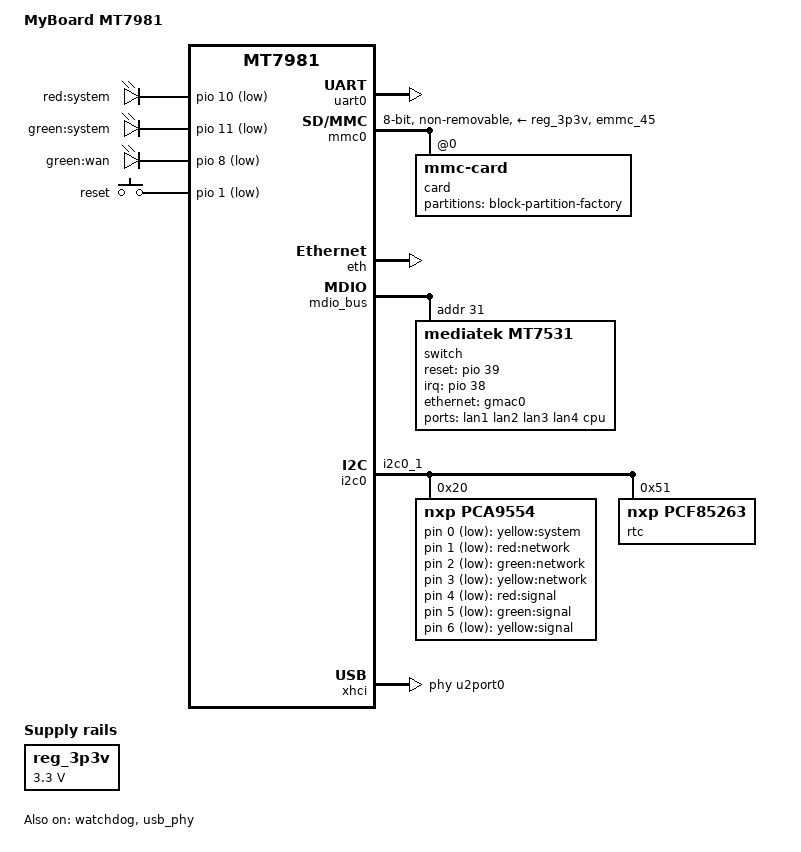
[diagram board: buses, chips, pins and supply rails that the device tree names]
// SPDX-License-Identifier: GPL-2.0-or-later OR MIT

/dts-v1/;
#include "mt7981.dtsi"

/ {
	model = "MyBoard MT7981";
	compatible = "myboard,my-mt7981", "mediatek,mt7981";

	aliases {
		label-mac-device = &gmac1;
		serial0 = &uart0;
	};

	chosen {
		stdout-path = "serial0:115200n8";
		bootargs-append = " root=PARTLABEL=rootfs rootwait";
	};

	reg_3p3v: regulator-3p3v {
		compatible = "regulator-fixed";
		regulator-name = "fixed-3.3V";
		regulator-min-microvolt = <3300000>;
		regulator-max-microvolt = <3300000>;
		regulator-boot-on;
		regulator-always-on;
	};

	leds {
		compatible = "gpio-leds";

		led-system-red {
			label = "red:system";
			gpios = <&pio 10 GPIO_ACTIVE_LOW>;
			default-state = "on";
		};

		led-system-green {
			label = "green:system";
			gpios = <&pio 11 GPIO_ACTIVE_LOW>;
			default-state = "off";
		};

		led-wan-gbe {
			label = "green:wan";
			gpios = <&pio 8 GPIO_ACTIVE_LOW>;
			default-state = "off";
		};

		led-system-yellow {
			label = "yellow:system";
			gpios = <&pca9554 0 GPIO_ACTIVE_LOW>;
			default-state = "off";
		};

		led-network-red {
			label = "red:network";
			gpios = <&pca9554 1 GPIO_ACTIVE_LOW>;
			default-state = "off";
		};

		led-network-green {
			label = "green:network";
			gpios = <&pca9554 2 GPIO_ACTIVE_LOW>;
			default-state = "off";
		};

		led-network-yellow {
			label = "yellow:network";
			gpios = <&pca9554 3 GPIO_ACTIVE_LOW>;
			default-state = "off";
		};

		led-signal-red {
			label = "red:signal";
			gpios = <&pca9554 4 GPIO_ACTIVE_LOW>;
			default-state = "off";
		};

		led-signal-green {
			label = "green:signal";
			gpios = <&pca9554 5 GPIO_ACTIVE_LOW>;
			default-state = "off";
		};

		led-signal-yellow {
			label = "yellow:signal";
			gpios = <&pca9554 6 GPIO_ACTIVE_LOW>;
			default-state = "off";
		};
	};

	gpio-keys {
		compatible = "gpio-keys";

		reset {
			label = "reset";
			linux,code = <KEY_RESTART>;
			gpios = <&pio 1 GPIO_ACTIVE_LOW>;
		};
	};
};

&uart0 {
	status = "okay";
};

&watchdog {
	status = "okay";
};

&pio {
	mmc0_pins_default: mmc0-pins-default {
		mux {
			function = "flash";
			groups = "emmc_45";
		};
	};

	mmc0_pins_uhs: mmc0-pins-uhs {
		mux {
			function = "flash";
			groups = "emmc_45";
		};
	};

	i2c_pins: i2c-pins {
		mux {
			function = "i2c";
			groups = "i2c0_1";
		};
	};
};

&mmc0 {
	pinctrl-names = "default", "state_uhs";
	pinctrl-0 = <&mmc0_pins_default>;
	pinctrl-1 = <&mmc0_pins_uhs>;
	bus-width = <8>;
	max-frequency = <52000000>;
	cap-mmc-highspeed;
	vmmc-supply = <&reg_3p3v>;
	non-removable;
	status = "okay";

	card@0 {
		compatible = "mmc-card";
		reg = <0>;

		block {
			compatible = "block-device";

			partitions {
				block-partition-factory {
					partname = "factory";

					nvmem-layout {
						compatible = "fixed-layout";
						#address-cells = <1>;
						#size-cells = <1>;

						macaddr_factory_4: macaddr@4 {
							compatible = "mac-base";
							reg = <0x4 0x6>;
							#nvmem-cell-cells = <1>;
						};
					};
				};
			};
		};
	};
};

&eth {
	status = "okay";

	pinctrl-names = "default";
	pinctrl-0 = <&mdio_pins>;

	gmac0: mac@0 {
		compatible = "mediatek,eth-mac";
		reg = <0>;
		phy-mode = "2500base-x";
		nvmem-cells = <&macaddr_factory_4 0>;
		nvmem-cell-names = "mac-address";

		fixed-link {
			speed = <2500>;
			full-duplex;
			pause;
		};
	};

	gmac1: mac@1 {
		compatible = "mediatek,eth-mac";
		reg = <1>;
		phy-mode = "gmii";
		phy-handle = <&int_gbe_phy>;
		nvmem-cells = <&macaddr_factory_4 1>;
		nvmem-cell-names = "mac-address";
	};
};

&mdio_bus {
	switch: switch@1f {
		compatible = "mediatek,mt7531";
		reg = <31>;
		reset-gpios = <&pio 39 GPIO_ACTIVE_HIGH>;
		interrupt-controller;
		#interrupt-cells = <1>;
		interrupt-parent = <&pio>;
		interrupts = <38 IRQ_TYPE_LEVEL_HIGH>;
	};
};

&switch {
	ports {
		#address-cells = <1>;
		#size-cells = <0>;

		port@0 {
			reg = <0>;
			label = "lan1";
		};

		port@1 {
			reg = <1>;
			label = "lan2";
		};

		port@2 {
			reg = <2>;
			label = "lan3";
		};

		port@3 {
			reg = <3>;
			label = "lan4";
		};

		port@6 {
			reg = <6>;
			label = "cpu";
			ethernet = <&gmac0>;
			phy-mode = "2500base-x";

			fixed-link {
				speed = <2500>;
				full-duplex;
				pause;
			};
		};
	};
};

&i2c0 {
	pinctrl-names = "default";
	pinctrl-0 = <&i2c_pins>;
	status = "okay";

	pca9554: gpio@20 {
		compatible = "nxp,pca9554";
		reg = <0x20>;
		gpio-controller;
		#gpio-cells = <2>;
	};

	rtc@51 {
		compatible = "nxp,pcf85263";
		reg = <0x51>;
	};
};

&usb_phy {
	status = "okay";
};

&xhci {
	mediatek,u3p-dis-msk = <0x0>;
	phys = <&u2port0 PHY_TYPE_USB2>,
	       <&u3port0 PHY_TYPE_USB3>;
	status = "okay";
};
